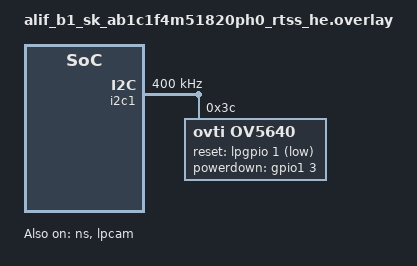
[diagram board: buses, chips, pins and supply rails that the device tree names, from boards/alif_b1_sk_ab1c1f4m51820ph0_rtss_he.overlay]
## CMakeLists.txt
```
# Copyright (C) 2026 Alif Semiconductor
# SPDX-License-Identifier: Apache-2.0

cmake_minimum_required(VERSION 3.20.0)
find_package(Zephyr REQUIRED HINTS $ENV{ZEPHYR_BASE})
project(video_memdump)

FILE(GLOB app_sources src/*.c)
target_sources(app PRIVATE ${app_sources})
```

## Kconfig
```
# Copyright (C) 2026 Alif Semiconductor
# SPDX-License-Identifier: Apache-2.0

config VIDEO_MEMDUMP_HEX_CONSOLE
	bool "Dump each captured JPEG as framed hex over the console"
	default y
	help
	  After every capture, print the whole JPEG as hex between
	  "==JPEG_BEGIN size=N==" / "==JPEG_END==" markers so it can be
	  extracted from the serial log and reconstructed on the host.
	  Disable to only log the buffer address/size (dump via debugger)
	  and avoid the slow full-frame hex print at low clock.

source "Kconfig.zephyr"
```

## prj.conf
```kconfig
# Copyright (C) 2026 Alif Semiconductor
# SPDX-License-Identifier: Apache-2.0

# Video
CONFIG_VIDEO=y
CONFIG_LOG=y
CONFIG_PRINTK=y
CONFIG_STDOUT_CONSOLE=y
CONFIG_I2C_TARGET=y
CONFIG_I2C=y
CONFIG_I2C_DW_CLOCK_SPEED=100
CONFIG_SYS_HEAP_AUTO=y
CONFIG_MAIN_STACK_SIZE=2048

# Scaled-HFRC 38.4 MHz run profile (see app_set_parameters in src/main.c).
# SysTick derives from the CPU clock, so this MUST match the real cycle rate
# or all k_sleep/timeouts are wrong. This is the low-clock setting that starves
# the CPI input FIFO at the sensor's fixed pixel clock; 76800000 works.
CONFIG_SYS_CLOCK_HW_CYCLES_PER_SEC=38400000

# Deferred logging: enlarge the message buffer so the burst of per-ISR CPI logs
# during a capture is not dropped ("--- N messages dropped ---").
CONFIG_LOG_BUFFER_SIZE=32768

# Console line input — Enter triggers a capture, and the framed hex dump is
# printed back over the same console.
CONFIG_CONSOLE_SUBSYS=y
CONFIG_CONSOLE_GETLINE=y

CONFIG_VIDEO_MEMDUMP_HEX_CONSOLE=n
```

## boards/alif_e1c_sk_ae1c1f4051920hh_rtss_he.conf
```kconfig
# Video capture pool: the captured JPEG (JPEG_CAPTURE_MAX_BYTES = 672K, main.c)
# plus 1536 B of k_heap bookkeeping. Lives in the NON_SECURE0 region (.overlay).
CONFIG_VIDEO_BUFFER_POOL_SZ_MAX=689664
CONFIG_VIDEO_BUFFER_POOL_NUM_MAX=1
```

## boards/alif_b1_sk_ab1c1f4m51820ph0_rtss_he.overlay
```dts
/* Copyright (C) 2026 Alif Semiconductor - All Rights Reserved.
 * Use, distribution and modification of this code is permitted under the
 * terms stated in the Alif Semiconductor Software License Agreement
 *
 * You should have received a copy of the Alif Semiconductor Software
 * License Agreement with this file. If not, please write to:
 * contact@alifsemi.com, or visit: https://alifsemi.com/license
 *
 */

#include <dt-bindings/pinctrl/balletto-pinctrl.h>
#include <dt-bindings/i2c/i2c.h>
#include <dt-bindings/gpio/gpio.h>
#include <dt-bindings/video/video-interfaces.h>

/*
 * DTCM is 1536K (0x20000000..0x20180000), split at 0x200C0000:
 *
 *   [0x20000000 .. 0x200C0000)  768K  Zephyr core (.data/.bss/heap/stacks)
 *   [0x200C0000 .. 0x20180000)  768K  NON_SECURE0 (this node): the video
 *                                     capture pool (camera DMA target),
 *                                     .alif_ns section (soc/.../alif_ns.ld)
 *
 * The video pool must live in NON_SECURE0, so growing the capture buffer means
 * growing this region.
 *
 * CRITICAL: the base AND size must be aligned to the DTCM TGU block size.
 * At boot sau_tcm_ns_setup() (modules/hal/alif) marks this region non-secure
 * in BOTH the SAU (exact, 32-byte granular) and the TGU (whole DTCM blocks,
 * via integer division - see tgu.c). If the base is not block-aligned the
 * TGU marks the partial block below it non-secure while the SAU keeps it
 * secure; any secure access into that window then faults (BusFault/MemManage).
 * The DTCM TGU block on B1 is 128K; 0x200C0000 is 768K (6*128K) from the DTCM
 * base, which is block-aligned. Do not give this an unaligned base.
 *
 * Keep in sync with CONFIG_VIDEO_BUFFER_POOL_SZ_MAX (.conf) and
 * JPEG_CAPTURE_MAX_BYTES (main.c).
 */
ns: &ns {
	status = "okay";
	reg = < 0x200C0000 DT_SIZE_K(768)>;
};

/*
 * Override gpio1 pinctrl to exclude P1_0 (JTAG_TMS), P1_1 (JTAG_TDI) and
 * P1_2 (JTAG_TDO) which are connected to the JTAG debug connector on the
 * B1 SK board. The default pinctrl_gpio1 covers the full port and would
 * remux those pads to GPIO, breaking the debug interface.
 */
&pinctrl {
	pinctrl_gpio1_video: pinctrl_gpio1_video {
		group0 {
			pinmux = <PIN_P1_3__GPIO>,
				 <PIN_P1_4__GPIO>,
				 <PIN_P1_5__GPIO>,
				 <PIN_P1_6__GPIO>,
				 <PIN_P1_7__GPIO>;
			read-enable = <0x1>;
		};
	};
};

&gpio1 {
	pinctrl-0 = <&pinctrl_gpio1_video>;
	status = "okay";
};

&lpgpio {
	status = "okay";
};

&i2c1 {
	status = "okay";
	clock-frequency = <I2C_BITRATE_FAST>;
	hcnt-offset = <10>;
	lcnt-offset = <10>;

	ov5640: ov5640@3c{
		compatible = "ovti,ov5640";
		reg = <0x3c>;
		status = "okay";
		reset-gpios = <&lpgpio 1 GPIO_ACTIVE_LOW>;
		powerdown-gpios = <&gpio1 3 GPIO_ACTIVE_HIGH>;

		port {
			ov5640_ep_out: endpoint {
				bus-type = <VIDEO_BUS_TYPE_PARALLEL>;
				remote-endpoint-label = "lpcam_ep_in";
			};
		};
	};
};

&lpcam {
	status = "okay";
	cpi-interface = "parallel";
	ports {
		#address-cells = <1>;
		#size-cells = <0>;

		/* Camera Input Endpoint. For LP-CAM it is only camera */
		port@0 {
			reg = <0>;
			lpcam_ep_in: endpoint {
				remote-endpoint-label = "ov5640_ep_out";
			};
		};

		/* Video buffer output endpoint. */
		port@1 {
			reg = <1>;
			cam_mem_ep_out: endpoint {
				remote-endpoint-label = "application";
			};
		};
	};
};
```

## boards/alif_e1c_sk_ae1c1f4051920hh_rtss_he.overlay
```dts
/* Copyright (C) 2026 Alif Semiconductor - All Rights Reserved.
 * Use, distribution and modification of this code is permitted under the
 * terms stated in the Alif Semiconductor Software License Agreement
 *
 * You should have received a copy of the Alif Semiconductor Software
 * License Agreement with this file. If not, please write to:
 * contact@alifsemi.com, or visit: https://alifsemi.com/license
 *
 */

#include <dt-bindings/pinctrl/ensemble-e1c-pinctrl.h>
#include <dt-bindings/i2c/i2c.h>
#include <dt-bindings/gpio/gpio.h>
#include <dt-bindings/video/video-interfaces.h>

/*
 * DTCM is 1536K (0x20000000..0x20180000), split at 0x200C0000:
 *
 *   [0x20000000 .. 0x200C0000)  768K  Zephyr core (.data/.bss/heap/stacks)
 *   [0x200C0000 .. 0x20180000)  768K  NON_SECURE0 (this node): the video
 *                                     capture pool (camera DMA target),
 *                                     .alif_ns section (soc/.../alif_ns.ld)
 *
 * The video pool must live in NON_SECURE0, so growing the capture buffer means
 * growing this region.
 *
 * CRITICAL: the base AND size must be aligned to the DTCM TGU block size.
 * At boot sau_tcm_ns_setup() (modules/hal/alif) marks this region non-secure
 * in BOTH the SAU (exact, 32-byte granular) and the TGU (whole DTCM blocks,
 * via integer division - see tgu.c). If the base is not block-aligned the
 * TGU marks the partial block below it non-secure while the SAU keeps it
 * secure; any secure access into that window then faults (BusFault/MemManage).
 * The DTCM TGU block on E1C is >= 64K; 0x200C0000 is 256K-aligned, which is
 * safe for any plausible block size. Do not give this an unaligned base.
 *
 * Keep in sync with CONFIG_VIDEO_BUFFER_POOL_SZ_MAX (.conf) and
 * JPEG_CAPTURE_MAX_BYTES (main.c).
 */
ns: &ns {
	status = "okay";
	reg = < 0x200C0000 DT_SIZE_K(768)>;
};

/*
 * Override gpio1 pinctrl to exclude P1_0 (JTAG_TMS), P1_1 (JTAG_TDI) and
 * P1_2 (JTAG_TDO) which are connected to the JTAG debug connector on the
 * E1C SK board. The default pinctrl_gpio1 covers the full port and would
 * remux those pads to GPIO, breaking the debug interface.
 */
&pinctrl {
	pinctrl_gpio1_video: pinctrl_gpio1_video {
		group0 {
			pinmux = <PIN_P1_3__GPIO>,
				 <PIN_P1_4__GPIO>,
				 <PIN_P1_5__GPIO>,
				 <PIN_P1_6__GPIO>,
				 <PIN_P1_7__GPIO>;
			read-enable = <0x1>;
		};
	};
};

&gpio1 {
	pinctrl-0 = <&pinctrl_gpio1_video>;
	status = "okay";
};

&lpgpio {
	status = "okay";
};

&i2c1 {
	status = "okay";
	clock-frequency = <I2C_BITRATE_FAST>;
	hcnt-offset = <10>;
	lcnt-offset = <10>;

	ov5640: ov5640@3c{
		compatible = "ovti,ov5640";
		reg = <0x3c>;
		status = "okay";
		reset-gpios = <&lpgpio 1 GPIO_ACTIVE_LOW>;
		powerdown-gpios = <&gpio1 3 GPIO_ACTIVE_HIGH>;

		port {
			ov5640_ep_out: endpoint {
				bus-type = <VIDEO_BUS_TYPE_PARALLEL>;
				remote-endpoint-label = "lpcam_ep_in";
			};
		};
	};
};

&lpcam {
	status = "okay";
	cpi-interface = "parallel";
	ports {
		#address-cells = <1>;
		#size-cells = <0>;

		/* Camera Input Endpoint. For LP-CAM it is only camera */
		port@0 {
			reg = <0>;
			lpcam_ep_in: endpoint {
				remote-endpoint-label = "ov5640_ep_out";
			};
		};

		/* Video buffer output endpoint. */
		port@1 {
			reg = <1>;
			cam_mem_ep_out: endpoint {
				remote-endpoint-label = "application";
			};
		};
	};
};
```

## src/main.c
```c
/*
 * Copyright (C) 2026 Alif Semiconductor.
 * SPDX-License-Identifier: Apache-2.0
 *
 * OV5640 JPEG capture with a memory dump instead of USB.
 *
 * This is the no-USB sibling of video_usbout_uvc. The camera pipeline and the
 * capture/validation logic are identical, but there is no USB device stack:
 * each captured JPEG is dumped straight from the DTCM capture buffer over the
 * console (framed hex, plus its address/size for a debugger memory dump). That
 * lets the HE core run the aggressive scaled-HFRC 38.4 MHz profile that broke
 * USB high-speed enumeration in video_usbout_uvc — with USB out of the picture
 * the PLL is no longer required, so the low-clock capture can be exercised and
 * inspected in isolation.
 */

#include <zephyr/kernel.h>
#include <zephyr/device.h>
#include <zephyr/drivers/video.h>
#include <zephyr/drivers/gpio.h>
#include <zephyr/drivers/i2c.h>
#include <zephyr/cache.h>
#include <zephyr/console/console.h>
#include <soc_common.h>
#include <se_service.h>
#include <string.h>

#include <zephyr/logging/log.h>
LOG_MODULE_REGISTER(video_memdump, LOG_LEVEL_INF);

/* Declared capture geometry (full-resolution OV5640 JPEG). */
#define FRAME_WIDTH  2592U
#define FRAME_HEIGHT 1944U

/*
 * JPEG capture buffer size, maximised for this board. The buffer is carved
 * from the video pool in the NON_SECURE0 region. This value is bounded by
 * CONFIG_VIDEO_BUFFER_POOL_SZ_MAX (board .conf), which must be this plus
 * ~1.5 KB for k_heap block headers / alignment overhead. Keep both in sync.
 * See the .overlay for the DTCM memory budget.
 */
#define JPEG_CAPTURE_MAX_BYTES (672U * 1024U)

/*
 * Sanity floor for a captured full-resolution JPEG. A real 2592x1944 frame is
 * far larger than this; anything smaller indicates a truncated/garbled capture
 * (e.g. find_jpeg_size latched onto an early false EOI) and is dropped.
 */
#define JPEG_MIN_VALID_BYTES (8U * 1024U)

/*
 * Alignment of the capture buffer in DTCM. The CPI/LPCAM driver only requires
 * 8-byte alignment for the AXI frame address, but on enqueue it does a
 * sys_cache_data_flush_and_invd_range() over the whole buffer. Over-aligning
 * the start to 128 bytes (and JPEG_CAPTURE_MAX_BYTES is a multiple of 128, so
 * the end lands on a boundary too) keeps that cache maintenance from touching
 * neighbouring heap metadata in the NON_SECURE0 region.
 */
#define CAPTURE_BUF_ALIGN 128U

/*
 * Upper bound on how long a single snapshot capture may take. A real capture
 * completes within a few sensor frame periods; the generous 2 s ceiling only
 * trips when the CPI driver dropped the frame as corrupt and never delivered a
 * buffer. Without it, video_dequeue(K_FOREVER) would block forever.
 */
#define CAPTURE_TIMEOUT K_MSEC(2000)

/*
 * OV5640 JPEG VFIFO overflow status register. A non-zero value means the
 * sensor's internal JPEG FIFO overflowed while emitting the frame: it then
 * drops entropy-coded bytes mid/late in the image yet still appends a valid
 * EOI marker. Logged per frame so the low-clock capture can be checked for
 * sensor-side JFIFO overflow.
 */
#define OV5640_JFIFO_OVERFLOW_REG 0x4417U

static const struct i2c_dt_spec ov5640_i2c =
	I2C_DT_SPEC_GET(DT_NODELABEL(ov5640));

static void log_jfifo_overflow(void)
{
	uint8_t addr_buf[2] = {
		(uint8_t)(OV5640_JFIFO_OVERFLOW_REG >> 8),
		(uint8_t)(OV5640_JFIFO_OVERFLOW_REG & 0xFF),
	};
	uint8_t val = 0;
	int ret;

	ret = i2c_write_read_dt(&ov5640_i2c, addr_buf, sizeof(addr_buf),
				&val, sizeof(val));
	if (ret) {
		LOG_WRN("OV5640 JFIFO overflow read failed: %d", ret);
		return;
	}

	if (val != 0) {
		LOG_WRN("OV5640 JFIFO OVERFLOW: reg 0x4417 = 0x%02x "
			"(sensor dropped JPEG entropy bytes this frame)", val);
	} else {
		LOG_INF("OV5640 JFIFO ok: reg 0x4417 = 0x%02x", val);
	}
}

/*
 * Determine the compressed size of a captured JPEG frame.
 *
 * The capture buffer is zero-filled before every capture and the sensor emits
 * no dummy padding after the image, so the populated region is exactly one
 * JPEG ending in EOI (0xFF 0xD9) followed by zero padding. Scanning backwards
 * from the end (rather than forwards for the first EOI) avoids latching onto a
 * false 0xFF 0xD9 produced by a bit glitch inside the entropy-coded data.
 *
 * Returns the JPEG length, or -EIO if the buffer does not start with SOI or
 * does not end in EOI (truncated / overflowed / garbled frame).
 */
static int find_jpeg_size(const uint8_t *bytes, size_t bsize)
{
	size_t end = bsize;

	if (bsize < 4 || bytes[0] != 0xFF || bytes[1] != 0xD8) {
		LOG_ERR("No JPEG SOI marker (got %02x %02x)",
			bytes[0], bytes[1]);
		return -EIO;
	}

	while (end > 0 && bytes[end - 1] == 0x00) {
		end--;
	}

	if (end < 4 || bytes[end - 1] != 0xD9 || bytes[end - 2] != 0xFF) {
		LOG_ERR("JPEG does not end in EOI (truncated/garbled capture)");
		return -EIO;
	}

	if (end >= bsize) {
		LOG_ERR("JPEG filled the whole %zu byte capture buffer "
			"(overflow) - increase JPEG_CAPTURE_MAX_BYTES or "
			"raise the sensor JPEG compression (QS).", bsize);
		return -EIO;
	}

	return (int)end;
}

/*
 * Capture one JPEG frame into buf. The OV5640 JPEG path runs the CPI in
 * snapshot mode (one frame per stream_start/stop). On success buf->bytesused
 * holds the compressed JPEG size.
 */
static int capture_one_jpeg(const struct device *video,
			    struct video_buffer *buf, size_t bsize)
{
	struct video_buffer *vbuf;
	int jpeg_size;
	int ret;

	/* Zero first so a truncated frame has no stale EOI to fool find_jpeg_size. */
	memset(buf->buffer, 0, bsize);

	ret = video_enqueue(video, VIDEO_EP_OUT, buf);
	if (ret) {
		LOG_ERR("Unable to enqueue buf: %d", ret);
		return ret;
	}

	ret = video_stream_start(video);
	if (ret) {
		LOG_ERR("Unable to start capture: %d", ret);
		return ret;
	}

	ret = video_dequeue(video, VIDEO_EP_OUT, &vbuf, CAPTURE_TIMEOUT);
	if (ret == -EAGAIN) {
		LOG_WRN("Capture timed out; driver dropped the frame, reclaiming");
		log_jfifo_overflow();
		video_stream_stop(video);
		video_flush(video, VIDEO_EP_OUT, false);
		while (video_dequeue(video, VIDEO_EP_OUT, &vbuf, K_NO_WAIT) == 0) {
			/* Drain the reclaimed buffer so it can be re-enqueued. */
		}
		return -EAGAIN;
	}
	if (ret) {
		LOG_ERR("Unable to dequeue video buf: %d", ret);
		return ret;
	}

	/* CPI does cache maintenance only on enqueue; invalidate so the CPU
	 * reads the freshly DMA'd JPEG rather than stale cache lines. */
	sys_cache_data_invd_range(vbuf->buffer, bsize);

	log_jfifo_overflow();

	jpeg_size = find_jpeg_size(vbuf->buffer, bsize);
	if (jpeg_size < 0 || jpeg_size < (int)JPEG_MIN_VALID_BYTES) {
		video_flush(video, VIDEO_EP_OUT, false);
		video_stream_stop(video);
		return (jpeg_size < 0) ? jpeg_size : -EIO;
	}

	vbuf->bytesused = jpeg_size;

	video_flush(video, VIDEO_EP_OUT, false);
	ret = video_stream_stop(video);
	if (ret) {
		LOG_ERR("Unable to stop capture: %d", ret);
	}
	return 0;
}

/*
 * Dump the captured JPEG from memory over the console. The frame is framed
 * with markers and its size so a host script can extract it from the serial
 * log, e.g.:
 *
 *   python3 - <<'EOF'
 *   import re,sys
 *   t=open('capture.log').read()
 *   m=re.search(r'==JPEG_BEGIN size=(\d+)==\n(.*?)\n==JPEG_END==', t, re.S)
 *   open('frame.jpg','wb').write(bytes.fromhex(re.sub(r'\s','',m.group(2))))
 *   EOF
 */
static void dump_jpeg_hex(const uint8_t *data, size_t len)
{
	printk("==JPEG_BEGIN size=%zu==\n", len);
	for (size_t i = 0; i < len; i++) {
		printk("%02x", data[i]);
		if ((i & 0x3FU) == 0x3FU) {
			printk("\n");
		}
	}
	printk("\n==JPEG_END==\n");
}

int main(void)
{
	struct video_format fmt = { 0 };
	struct video_caps caps;
	const struct device *video;
	struct video_buffer *buf;
	size_t bsize;
	int ret;
	int i = 0;

	video = DEVICE_DT_GET_ONE(alif_cam);

	if (!device_is_ready(video)) {
		LOG_ERR("%s: device not ready.", video->name);
		return -1;
	}
	LOG_INF("- Device name: %s", video->name);

	if (video_get_caps(video, VIDEO_EP_OUT, &caps)) {
		LOG_ERR("Unable to retrieve video capabilities");
		return -1;
	}

	while (caps.format_caps[i].pixelformat) {
		const struct video_format_cap *fcap = &caps.format_caps[i];

		if (fcap->pixelformat == VIDEO_PIX_FMT_JPEG) {
			fmt.pixelformat = VIDEO_PIX_FMT_JPEG;
			fmt.width = FRAME_WIDTH;
			fmt.height = FRAME_HEIGHT;
		}
		i++;
	}

	if (fmt.pixelformat == 0) {
		LOG_ERR("JPEG pixel format not advertised by sensor.");
		return -1;
	}

	fmt.pitch = fmt.width;

	ret = video_set_format(video, VIDEO_EP_OUT, &fmt);
	if (ret) {
		LOG_ERR("Failed to set video format: %d", ret);
		return -1;
	}
	LOG_INF("- format: JPEG %ux%u", fmt.width, fmt.height);

	bsize = MIN((size_t)JPEG_CAPTURE_MAX_BYTES,
		    (size_t)fmt.width * fmt.height);

	buf = video_buffer_aligned_alloc(bsize, CAPTURE_BUF_ALIGN, K_NO_WAIT);
	if (buf == NULL) {
		LOG_ERR("Unable to alloc video buffer");
		return -1;
	}
	LOG_INF("- capture buffer: %zu bytes at 0x%08x",
		bsize, (uint32_t)buf->buffer);

	console_getline_init();

	LOG_INF("Memory-dump capture ready. Press Enter to capture a frame.");

	while (1) {
		/* Wait for the user to trigger a capture (text is ignored). */
		(void)console_getline();

		ret = capture_one_jpeg(video, buf, bsize);
		if (ret) {
			LOG_WRN("Dropped bad capture (%d), press Enter to retry",
				ret);
			continue;
		}

		LOG_INF("JPEG at 0x%08x, size=%u bytes (dump 0x%08x..0x%08x)",
			(uint32_t)buf->buffer, buf->bytesused,
			(uint32_t)buf->buffer,
			(uint32_t)buf->buffer + buf->bytesused);
		LOG_HEXDUMP_INF(&buf->buffer[buf->bytesused - 48], 48,
				"last 48 JPEG bytes");

#ifdef CONFIG_VIDEO_MEMDUMP_HEX_CONSOLE
		dump_jpeg_hex(buf->buffer, buf->bytesused);
#endif
	}

	return 0;
}

static int app_set_parameters(void)
{
	run_profile_t runp = { 0 };
	int ret;

	runp.power_domains  = PD_SYST_MASK | PD_SSE700_AON_MASK | PD_DBSS_MASK;
	runp.dcdc_voltage   = 825;
	runp.dcdc_mode      = DCDC_MODE_PWM;
	runp.aon_clk_src    = CLK_SRC_LFXO;
	runp.run_clk_src    = CLK_SRC_HFRC;
	runp.vdd_ioflex_3V3 = IOFLEX_LEVEL_1V8;
	/* Scaled-HFRC 38.4 MHz. Capture works at the unscaled 76.8 MHz; 38.4 MHz
	 * starves the CPI input FIFO (int_st=0x10 INFIFO overrun) because the
	 * sensor's internal 24 MHz XCLK keeps the pixel clock fixed while the
	 * AXI/DTCM drain runs at half speed. cpu_clk_freq stays at the 76.8
	 * selection while scaled_clk_freq tunes the same physical HFRC down to
	 * 38.4. Keep coherent with CONFIG_SYS_CLOCK_HW_CYCLES_PER_SEC=38400000
	 * (prj.conf) or the SE rejects the profile. */
	runp.cpu_clk_freq    = CLOCK_FREQUENCY_76_8_RC_MHZ;
	//runp.scaled_clk_freq = SCALED_FREQ_RC_ACTIVE_38_4_MHZ;
    runp.scaled_clk_freq = SCALED_FREQ_RC_ACTIVE_76_8_MHZ;

	runp.memory_blocks = MRAM_MASK;
#if DT_NODE_EXISTS(DT_NODELABEL(sram0))
	runp.memory_blocks |= SRAM0_MASK;
#endif

	/* Camera path only; USB PHY/clock are intentionally left out. */
	runp.phy_pwr_gating  = MIPI_TX_DPHY_MASK | MIPI_RX_DPHY_MASK |
			       MIPI_PLL_DPHY_MASK | LDO_PHY_MASK;
	runp.ip_clock_gating = CAMERA_MASK | MIPI_CSI_MASK | MIPI_DSI_MASK;

	ret = se_service_set_run_cfg(&runp);
	if (ret) {
		__ASSERT(false, "SE: set_run_cfg failed = %d", ret);
		return ret;
	}

	/* LPCAM pixel clock and OV5640 enable-buffer GPIO. */
	sys_write32(0x080001, M55HE_CFG_HE_CAMERA_PIXCLK);

	const struct gpio_dt_spec cam_enbuf =
		GPIO_DT_SPEC_GET(DT_NODELABEL(cam_enbuf), enbuf_gpios);

	gpio_pin_configure_dt(&cam_enbuf, GPIO_OUTPUT_ACTIVE);

	return 0;
}

SYS_INIT(app_set_parameters, PRE_KERNEL_1, 46);
```
